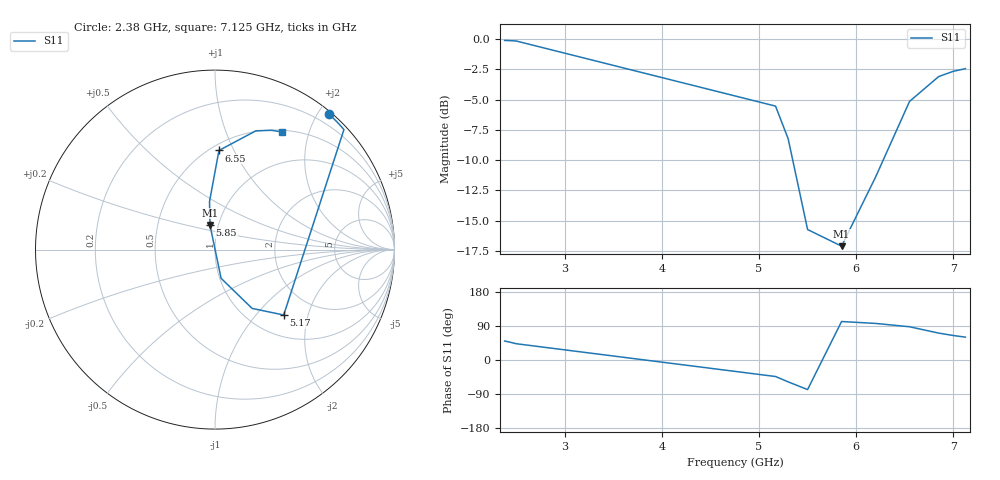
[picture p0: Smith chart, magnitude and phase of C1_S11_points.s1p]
! Generated by Hertzon (EMerge FEM)
# HZ S RI R 50
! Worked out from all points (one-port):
!   16 points, 2.38 GHz to 7.125 GHz, reference 50 ohm
!   lowest |S11| = -17.1 dB at 5.85 GHz (marker M1), VSWR 1.32, Z = 45.6 + j12.7 ohm
!   |S11| at or under -10 dB: 5.347 GHz to 6.278 GHz (931.1 MHz wide, 16 % of centre)
!   S11 on the Smith chart (normalised r, x): 2.38 GHz: 0.04, +2.14; 5.17 GHz: 1.40, -1.42; 5.85 GHz: 0.91, +0.25; 6.55 GHz: 0.55, +0.88; 7.125 GHz: 0.52, +1.59
2.38e9  0.6326 0.7566
2.401e9  0.6472 0.7433
2.42e9  0.6605 0.7306
2.44e9  0.6746 0.7165
2.46e9  0.689 0.7016
2.483e9  0.7057 0.6831
2.5e9  0.7183 0.6684
5.17e9  0.3828 -0.3643
5.3e9  0.2068 -0.3277
5.5e9  0.034 -0.16
5.85e9  -0.028 0.1368
6.2e9  -0.0306 0.2675
6.55e9  0.022 0.5523
6.85e9  0.2278 0.6618
7e9  0.3151 0.6647
7.125e9  0.3734 0.6555
